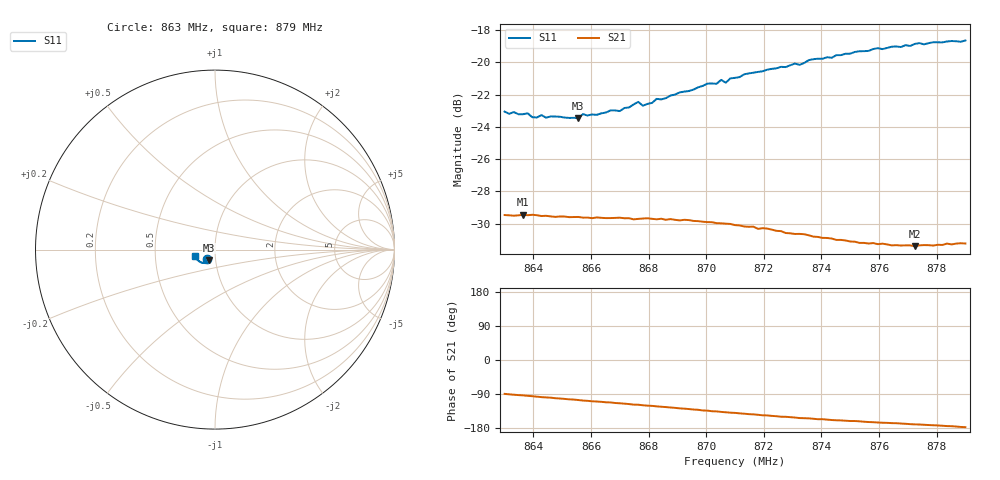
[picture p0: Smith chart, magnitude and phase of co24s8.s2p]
# HZ S RI R 50
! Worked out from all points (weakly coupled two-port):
!   101 points, 863 MHz to 879 MHz, reference 50 ohm
!   highest |S21| = -29.46 dB at 863.64 MHz (marker M1); lowest = -31.4 dB at 877.24 MHz (marker M2)
!   lowest |S11| = -23.5 dB at 865.56 MHz (marker M3), VSWR 1.14, Z = 46.3 - j5.33 ohm
!   |S11| at or under -10 dB: start of sweep to end of sweep
!   S12 and S22 are empty: the file has one direction only
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8.63e8  -0.0441 -0.0548  0.000385 -0.0336  0 0  0 0
8.6364e8  -0.0411 -0.0555  -0.00198 -0.0336  0 0  0 0
8.638e8  -0.0409 -0.0562  -0.00266 -0.0335  0 0  0 0
8.6396e8  -0.0392 -0.0551  -0.00323 -0.0335  0 0  0 0
8.6428e8  -0.0384 -0.0568  -0.00464 -0.033  0 0  0 0
8.6444e8  -0.0383 -0.0554  -0.00507 -0.033  0 0  0 0
8.6556e8  -0.0351 -0.0573  -0.00894 -0.0319  0 0  0 0
8.6572e8  -0.0354 -0.0593  -0.00965 -0.0315  0 0  0 0
8.67e8  -0.0339 -0.0619  -0.0135 -0.0301  0 0  0 0
8.6764e8  -0.0365 -0.066  -0.0154 -0.0289  0 0  0 0
8.678e8  -0.035 -0.0645  -0.0161 -0.0285  0 0  0 0
8.6844e8  -0.037 -0.0673  -0.018 -0.0273  0 0  0 0
8.7004e8  -0.0442 -0.0737  -0.022 -0.0231  0 0  0 0
8.7036e8  -0.0455 -0.0728  -0.0227 -0.0222  0 0  0 0
8.7052e8  -0.0478 -0.0742  -0.0232 -0.0216  0 0  0 0
8.7068e8  -0.046 -0.0733  -0.0235 -0.0212  0 0  0 0
8.71e8  -0.0502 -0.0741  -0.0238 -0.0203  0 0  0 0
8.7324e8  -0.0656 -0.0731  -0.0262 -0.0132  0 0  0 0
8.7372e8  -0.0705 -0.0741  -0.0261 -0.0121  0 0  0 0
8.7644e8  -0.0941 -0.0604  -0.0263 -0.00628  0 0  0 0
8.7724e8  -0.1 -0.0548  -0.0265 -0.00473  0 0  0 0
8.79e8  -0.1108 -0.0375  -0.0274 -0.00128  0 0  0 0
